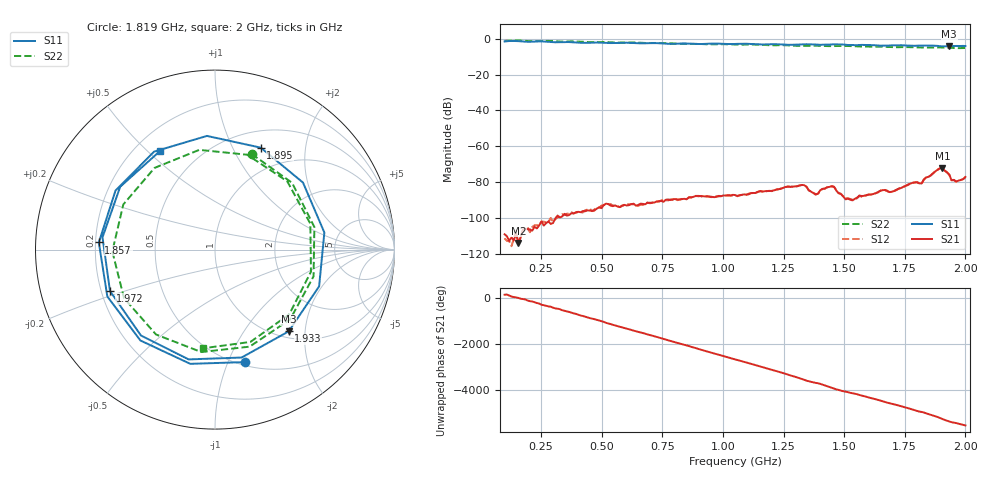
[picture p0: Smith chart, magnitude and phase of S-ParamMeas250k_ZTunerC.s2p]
!Keysight Technologies,N5242B,MY48420967,A.15.65.19
!Date: Monday, December 19, 2022 16:06:10
!Correction: S11(C  2-Port  )
!S21(C  2-Port  )
!S12(C  2-Port  )
!S22(C  2-Port  )
!S2P File: Measurements: S11, S21, S12, S22:
# Hz S  dB  R 50
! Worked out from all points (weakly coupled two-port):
!   201 points, 100 MHz to 2 GHz, reference 50 ohm
!   highest |S21| = -72.03 dB at 1.905 GHz (marker M1); lowest = -113.9 dB at 157 MHz (marker M2)
!   lowest |S11| = -4.2 dB at 1.933 GHz (marker M3), VSWR 4.17, Z = 56.2 - j82.1 ohm
!   |S11| at or under -10 dB: nowhere
!   |S22| runs from -5.2 to -0.9 dB; largest |S21 - S12| = 5.4e-06
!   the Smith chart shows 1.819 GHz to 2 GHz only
!   S11 on the Smith chart (normalised r, x): 1.819 GHz: 0.53, -1.15; 1.857 GHz: 0.21, +0.03; 1.895 GHz: 0.70, +1.29; 1.933 GHz: 1.12, -1.64; 1.972 GHz: 0.24, -0.18; 2 GHz: 0.30, +0.55
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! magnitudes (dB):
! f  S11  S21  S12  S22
! 100 MHz  -1.5  -109.1  -111.3  -1.1
! 157 MHz  -1.3  -113.9  -114.8  -0.9
! 423 MHz  -2.3  -96.1  -96.9  -1.7
! 736.5 MHz  -2.5  -90.6  -90.8  -2.3
! 1.05 GHz  -2.9  -87.2  -87.3  -3.2
! 1.373 GHz  -3.2  -86.0  -85.9  -3.8
! 1.687 GHz  -3.8  -85.5  -85.5  -4.6
! 1.819 GHz  -3.8  -80.7  -80.9  -4.9
! 1.839 GHz  -3.7  -77.3  -77.2  -4.9
! 1.848 GHz  -3.7  -77.0  -77.1  -4.9
! 1.857 GHz  -3.8  -76.1  -76.3  -4.9
! 1.877 GHz  -3.8  -73.9  -73.8  -4.8
! 1.895 GHz  -4.1  -72.2  -72.2  -4.8
! 1.905 GHz  -4.2  -72.0  -71.9  -4.8
! 1.915 GHz  -4.2  -73.5  -73.6  -4.9
! 1.933 GHz  -4.2  -75.8  -75.8  -5.0
! 1.943 GHz  -4.2  -78.9  -78.9  -5.1
! 1.952 GHz  -4.0  -78.7  -78.9  -5.1
! 1.962 GHz  -4.0  -79.6  -79.7  -5.2
! 1.972 GHz  -4.0  -79.2  -79.2  -5.2
! 1.99 GHz  -4.0  -78.3  -78.4  -5.2
! 2 GHz  -4.0  -77.1  -77.1  -5.1
